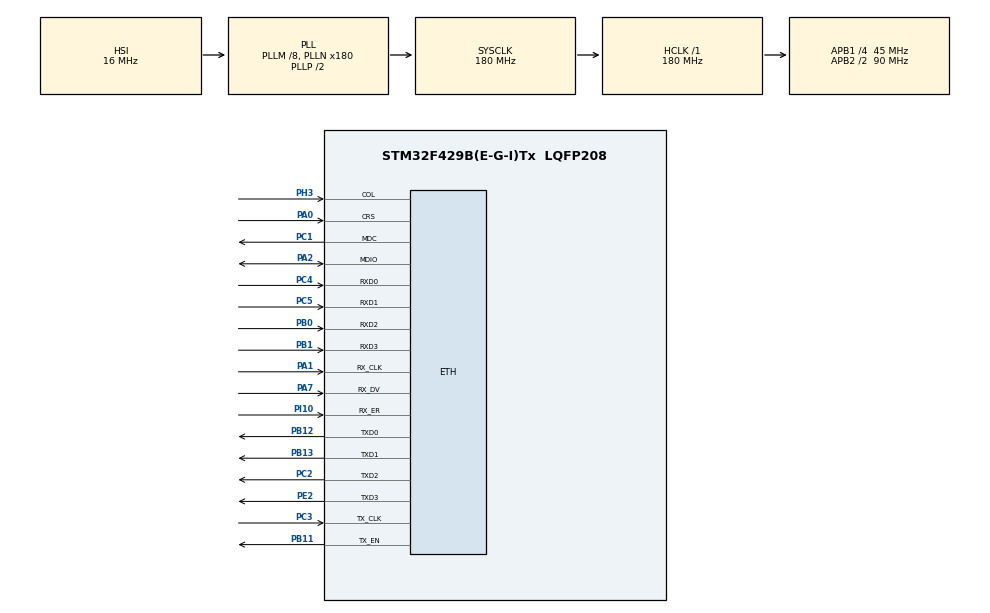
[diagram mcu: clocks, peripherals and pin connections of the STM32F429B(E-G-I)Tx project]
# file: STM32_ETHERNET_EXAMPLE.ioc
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ETH.MediaInterface=HAL_ETH_MII_MODE
LWIP.BSP.number=1
LWIP.MEM_SIZE=10*1024
LWIP.Version=v2.1.2_Cube
LWIP0.BSP.STBoard=false
LWIP0.BSP.api=BSP_COMPONENT_DRIVER
LWIP0.BSP.component=DP83848
LWIP0.BSP.instance=DP83848
LWIP0.BSP.name=Driver_PHY
LWIP0.BSP.semaphore=S_DP83848
LWIP0.BSP.solution=DP83848
Mcu.Family=STM32F4
Mcu.Name=STM32F429B(E-G-I)Tx
Mcu.Package=LQFP208
NVIC.PriorityGroup=NVIC_PRIORITYGROUP_4
PA0/WKUP.Mode=MII
PA0/WKUP.Signal=ETH_CRS
PA1.Mode=MII
PA1.Signal=ETH_RX_CLK
PA13.Mode=Serial_Wire
PA13.Signal=SYS_JTMS-SWDIO
PA14.Mode=Serial_Wire
PA14.Signal=SYS_JTCK-SWCLK
PA2.Mode=MII
PA2.Signal=ETH_MDIO
PA7.Mode=MII
PA7.Signal=ETH_RX_DV
PB0.Mode=MII
PB0.Signal=ETH_RXD2
PB1.Mode=MII
PB1.Signal=ETH_RXD3
PB11.Mode=MII
PB11.Signal=ETH_TX_EN
PB12.Mode=MII
PB12.Signal=ETH_TXD0
PB13.Mode=MII
PB13.Signal=ETH_TXD1
PC1.Mode=MII
PC1.Signal=ETH_MDC
PC2.Mode=MII
PC2.Signal=ETH_TXD2
PC3.Mode=MII
PC3.Signal=ETH_TX_CLK
PC4.Mode=MII
PC4.Signal=ETH_RXD0
PC5.Mode=MII
PC5.Signal=ETH_RXD1
PE2.Mode=MII
PE2.Signal=ETH_TXD3
PH3.Mode=MII
PH3.Signal=ETH_COL
PI10.Mode=Activate Rx Err signal
PI10.Signal=ETH_RX_ER
ProjectManager.HeapSize=0x200
ProjectManager.StackSize=0x400
ProjectManager.TargetToolchain=STM32CubeIDE
RCC.48MHZClocksFreq_Value=90000000
RCC.AHBFreq_Value=180000000
RCC.APB1CLKDivider=RCC_HCLK_DIV4
RCC.APB1Freq_Value=45000000
RCC.APB1TimFreq_Value=90000000
RCC.APB2CLKDivider=RCC_HCLK_DIV2
RCC.APB2Freq_Value=90000000
RCC.APB2TimFreq_Value=180000000
RCC.CortexFreq_Value=180000000
RCC.HCLKFreq_Value=180000000
RCC.HSE_VALUE=25000000
RCC.HSI_VALUE=16000000
RCC.LSE_VALUE=32768
RCC.PLLM=8
RCC.PLLN=180
RCC.SYSCLKFreq_VALUE=180000000
RCC.SYSCLKSource=RCC_SYSCLKSOURCE_PLLCLK
RCC.VCOOutputFreq_Value=360000000
VP_LWIP_VS_Enabled.Mode=Enabled
board=custom

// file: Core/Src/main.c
/* USER CODE BEGIN Header */
/**
  ******************************************************************************
  * @file           : main.c
  * @brief          : Main program body
  ******************************************************************************
  * @attention
  *
  * Copyright (c) 2024 STMicroelectronics.
  * All rights reserved.
  *
  * This software is licensed under terms that can be found in the LICENSE file
  * in the root directory of this software component.
  * If no LICENSE file comes with this software, it is provided AS-IS.
  *
  ******************************************************************************
  */
/* USER CODE END Header */
#include "main.h"
#include "lwip.h"

/* USER CODE BEGIN Includes */
#include "stdint.h"
#include "dp83848.h"
//note: change IP ADDRESS in udp_server.c

/* USER CODE END Includes */

/* USER CODE BEGIN PD */
//#define UNIT_TEST
/* USER CODE END PD */

/* USER CODE BEGIN PV */

extern struct netif gnetif;
extern struct udp_pcb *upcb;
//Dp838484 test
extern dp83848_Object_t DP83848;
extern dp83848_IOCtx_t  IO;
uint32_t phy_reg_val[10];
int32_t *read_reg;
int32_t *write_reg;
/* USER CODE END PV */

void SystemClock_Config(void);
static void MX_GPIO_Init(void);

int main(void)
{

  /* MCU Configuration--------------------------------------------------------*/

  /* Reset of all peripherals, Initializes the Flash interface and the Systick. */
  HAL_Init();

  /* Configure the system clock */
  SystemClock_Config();

  /* Initialize all configured peripherals */
  MX_GPIO_Init();
  MX_LWIP_Init();
  /* USER CODE BEGIN 2 */

 // DP83848  HEALTH CHECK

  *read_reg = DP83848.IO.ReadReg(DP83848.DevAddr, DP83848_PHYI1R, &phy_reg_val[0]);
  *read_reg = DP83848.IO.ReadReg(DP83848.DevAddr, DP83848_PHYI2R, &phy_reg_val[1]);

  //BIST START  (BUILT IN SELF TEST START)
  *read_reg = DP83848.IO.ReadReg(DP83848.DevAddr, 0x19, &phy_reg_val[2]);
  phy_reg_val[3] = phy_reg_val[2] | 0x0100; //BIST START
  *write_reg = DP83848.IO.WriteReg(DP83848.DevAddr, 0x19, phy_reg_val[3]);
  HAL_Delay(10);
  *read_reg = DP83848.IO.ReadReg(DP83848.DevAddr, 0x19, &phy_reg_val[4]);

  //BIST STop   (BUILT IN SELF TEST STOP)
  *read_reg = DP83848.IO.ReadReg(DP83848.DevAddr, 0x19, &phy_reg_val[2]);
  phy_reg_val[3] = phy_reg_val[2] & ~(0x0100); //BIST STop
  *write_reg = DP83848.IO.WriteReg(DP83848.DevAddr, 0x19, phy_reg_val[3]);
  HAL_Delay(10);
  *read_reg = DP83848.IO.ReadReg(DP83848.DevAddr, 0x19, &phy_reg_val[4]);

  //loopback enable  (INTERNAL LOOPBACK ENABLE)
  *read_reg = DP83848.IO.ReadReg(DP83848.DevAddr, 0x00, &phy_reg_val[5]);
  phy_reg_val[6] = phy_reg_val[5] | 0x4000; //loopback enable
  *write_reg = DP83848.IO.WriteReg(DP83848.DevAddr, 0x00, phy_reg_val[6]);
  HAL_Delay(10);
  *read_reg = DP83848.IO.ReadReg(DP83848.DevAddr, 0x00, &phy_reg_val[7]);

  //BIST START
  *read_reg = DP83848.IO.ReadReg(DP83848.DevAddr, 0x19, &phy_reg_val[2]);
  phy_reg_val[3] = phy_reg_val[2] | 0x0100; //BIST START
  *write_reg = DP83848.IO.WriteReg(DP83848.DevAddr, 0x19, phy_reg_val[3]);
  HAL_Delay(10);
  *read_reg = DP83848.IO.ReadReg(DP83848.DevAddr, 0x19, &phy_reg_val[4]);

  //BIST STop
  *read_reg = DP83848.IO.ReadReg(DP83848.DevAddr, 0x19, &phy_reg_val[2]);
  phy_reg_val[3] = phy_reg_val[2] & ~(0x0100); //BIST STop
  *write_reg = DP83848.IO.WriteReg(DP83848.DevAddr, 0x19, phy_reg_val[3]);
  HAL_Delay(10);
  *read_reg = DP83848.IO.ReadReg(DP83848.DevAddr, 0x19, &phy_reg_val[4]);

  /* USER CODE END 2 */

  /* Infinite loop */
  /* USER CODE BEGIN WHILE */
  while (1)
  {

	  MX_LWIP_Process();

  }
  /* USER CODE END 3 */
}

void SystemClock_Config(void)
{
  RCC_OscInitTypeDef RCC_OscInitStruct = {0};
  RCC_ClkInitTypeDef RCC_ClkInitStruct = {0};

  /** Configure the main internal regulator output voltage
  */
  __HAL_RCC_PWR_CLK_ENABLE();
  __HAL_PWR_VOLTAGESCALING_CONFIG(PWR_REGULATOR_VOLTAGE_SCALE1);

  /** Initializes the RCC Oscillators according to the specified parameters
  * in the RCC_OscInitTypeDef structure.
  */
  RCC_OscInitStruct.OscillatorType = RCC_OSCILLATORTYPE_HSI;
  RCC_OscInitStruct.HSIState = RCC_HSI_ON;
  RCC_OscInitStruct.HSICalibrationValue = RCC_HSICALIBRATION_DEFAULT;
  RCC_OscInitStruct.PLL.PLLState = RCC_PLL_ON;
  RCC_OscInitStruct.PLL.PLLSource = RCC_PLLSOURCE_HSI;
  RCC_OscInitStruct.PLL.PLLM = 8;
  RCC_OscInitStruct.PLL.PLLN = 180;
  RCC_OscInitStruct.PLL.PLLP = RCC_PLLP_DIV2;
  RCC_OscInitStruct.PLL.PLLQ = 4;
  if (HAL_RCC_OscConfig(&RCC_OscInitStruct) != HAL_OK)
  {
    Error_Handler();
  }

  /** Activate the Over-Drive mode
  */
  if (HAL_PWREx_EnableOverDrive() != HAL_OK)
  {
    Error_Handler();
  }

  /** Initializes the CPU, AHB and APB buses clocks
  */
  RCC_ClkInitStruct.ClockType = RCC_CLOCKTYPE_HCLK|RCC_CLOCKTYPE_SYSCLK
                              |RCC_CLOCKTYPE_PCLK1|RCC_CLOCKTYPE_PCLK2;
  RCC_ClkInitStruct.SYSCLKSource = RCC_SYSCLKSOURCE_PLLCLK;
  RCC_ClkInitStruct.AHBCLKDivider = RCC_SYSCLK_DIV1;
  RCC_ClkInitStruct.APB1CLKDivider = RCC_HCLK_DIV4;
  RCC_ClkInitStruct.APB2CLKDivider = RCC_HCLK_DIV2;

  if (HAL_RCC_ClockConfig(&RCC_ClkInitStruct, FLASH_LATENCY_5) != HAL_OK)
  {
    Error_Handler();
  }
}

static void MX_GPIO_Init(void)
{

  /* GPIO Ports Clock Enable */
  __HAL_RCC_GPIOE_CLK_ENABLE();
  __HAL_RCC_GPIOI_CLK_ENABLE();
  __HAL_RCC_GPIOC_CLK_ENABLE();
  __HAL_RCC_GPIOA_CLK_ENABLE();
  __HAL_RCC_GPIOH_CLK_ENABLE();
  __HAL_RCC_GPIOB_CLK_ENABLE();

}

void Error_Handler(void)
{
  __disable_irq();
  while (1)
  {
  }
}
